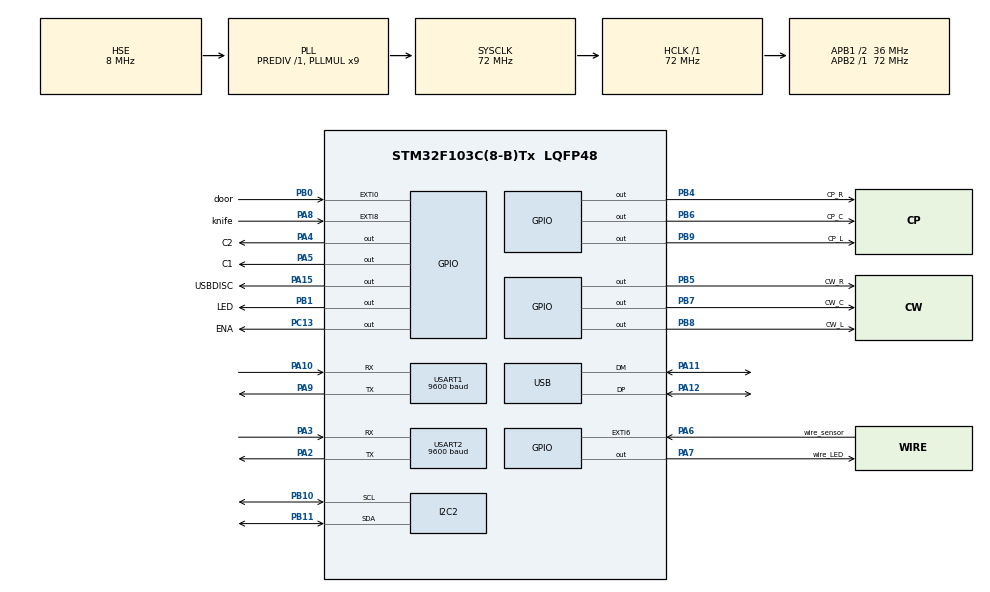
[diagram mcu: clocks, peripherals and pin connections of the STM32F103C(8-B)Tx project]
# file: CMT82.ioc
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Mcu.Family=STM32F1
Mcu.Name=STM32F103C(8-B)Tx
Mcu.Package=LQFP48
NVIC.EXTI0_IRQn=true\:0\:0\:false\:false\:true\:true
NVIC.EXTI9_5_IRQn=true\:0\:0\:false\:false\:true\:true
NVIC.I2C2_ER_IRQn=true\:0\:0\:false\:false\:true\:true
NVIC.I2C2_EV_IRQn=true\:0\:0\:false\:false\:true\:true
NVIC.PriorityGroup=NVIC_PRIORITYGROUP_4
NVIC.RTC_IRQn=true\:0\:0\:false\:false\:true\:true
NVIC.TIM1_UP_IRQn=true\:0\:0\:false\:false\:true\:true
NVIC.TIM3_IRQn=true\:0\:0\:false\:false\:true\:true
NVIC.TIM4_IRQn=true\:0\:0\:false\:false\:true\:true
NVIC.USART1_IRQn=true\:0\:0\:false\:false\:true\:true
NVIC.USART2_IRQn=true\:0\:0\:false\:false\:true\:true
PA10.Mode=Asynchronous
PA10.Signal=USART1_RX
PA11.Mode=Device
PA11.Signal=USB_DM
PA12.Mode=Device
PA12.Signal=USB_DP
PA13.Mode=Serial_Wire
PA13.Signal=SYS_JTMS-SWDIO
PA14.Mode=Serial_Wire
PA14.Signal=SYS_JTCK-SWCLK
PA15.GPIO_Label=USBDISC
PA15.Signal=GPIO_Output
PA2.Mode=Asynchronous
PA2.Signal=USART2_TX
PA3.Mode=Asynchronous
PA3.Signal=USART2_RX
PA4.GPIO_Label=C2
PA4.Signal=GPIO_Output
PA5.GPIO_Label=C1
PA5.Signal=GPIO_Output
PA6.GPIO_Label=wire_sensor
PA6.GPIO_ModeDefaultEXTI=GPIO_MODE_IT_RISING_FALLING
PA6.GPIO_PuPd=GPIO_PULLUP
PA6.Signal=GPXTI6
PA7.GPIO_Label=wire_LED
PA7.Signal=GPIO_Output
PA8.GPIO_Label=knife
PA8.GPIO_ModeDefaultEXTI=GPIO_MODE_IT_RISING_FALLING
PA8.GPIO_PuPd=GPIO_PULLUP
PA8.Signal=GPXTI8
PA9.Mode=Asynchronous
PA9.Signal=USART1_TX
PB0.GPIO_Label=door
PB0.GPIO_ModeDefaultEXTI=GPIO_MODE_IT_RISING_FALLING
PB0.GPIO_PuPd=GPIO_PULLUP
PB0.Signal=GPXTI0
PB1.GPIO_Label=LED
PB1.Signal=GPIO_Output
PB10.Mode=I2C
PB10.Signal=I2C2_SCL
PB11.Mode=I2C
PB11.Signal=I2C2_SDA
PB4.GPIO_Label=CP_R
PB4.Signal=GPIO_Output
PB5.GPIO_Label=CW_R
PB5.Signal=GPIO_Output
PB6.GPIO_Label=CP_C
PB6.Signal=GPIO_Output
PB7.GPIO_Label=CW_C
PB7.Signal=GPIO_Output
PB8.GPIO_Label=CW_L
PB8.Signal=GPIO_Output
PB9.GPIO_Label=CP_L
PB9.Signal=GPIO_Output
PC13-TAMPER-RTC.GPIO_Label=ENA
PC13-TAMPER-RTC.Signal=GPIO_Output
PD0-OSC_IN.Mode=HSE-External-Oscillator
PD0-OSC_IN.Signal=RCC_OSC_IN
PD1-OSC_OUT.Mode=HSE-External-Oscillator
PD1-OSC_OUT.Signal=RCC_OSC_OUT
ProjectManager.HeapSize=0x200
ProjectManager.StackSize=0x400
ProjectManager.TargetToolchain=SW4STM32
RCC.AHBFreq_Value=72000000
RCC.APB1CLKDivider=RCC_HCLK_DIV2
RCC.APB1Freq_Value=36000000
RCC.APB1TimFreq_Value=72000000
RCC.APB2Freq_Value=72000000
RCC.APB2TimFreq_Value=72000000
RCC.HCLKFreq_Value=72000000
RCC.PLLMUL=RCC_PLL_MUL9
RCC.SYSCLKFreq_VALUE=72000000
RCC.SYSCLKSource=RCC_SYSCLKSOURCE_PLLCLK
RCC.USBFreq_Value=48000000
RCC.USBPrescaler=RCC_USBCLKSOURCE_PLL_DIV1_5
RTC.Date=15
RTC.Month=RTC_MONTH_NOVEMBER
RTC.WeekDay=RTC_WEEKDAY_TUESDAY
RTC.Year=16
TIM1.Period=3599
TIM1.Prescaler=9999
TIM3.Period=17
TIM3.Prescaler=999
TIM4.Period=17
TIM4.Prescaler=999
USART1.BaudRate=9600
USART1.VirtualMode=VM_ASYNC
USART2.BaudRate=9600
USART2.VirtualMode=VM_ASYNC
VP_RTC_VS_RTC_Activate.Mode=RTC_Enabled
VP_RTC_VS_RTC_Calendar.Mode=RTC_Calendar
VP_TIM1_VS_OPM.Mode=OPM_bit
VP_TIM3_VS_OPM.Mode=OPM_bit
VP_TIM4_VS_OPM.Mode=OPM_bit
board=CMT82

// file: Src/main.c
/**
  ******************************************************************************
  * @file           : main.c
  * @brief          : Main program body
  ******************************************************************************
  ** This notice applies to any and all portions of this file
  * that are not between comment pairs USER CODE BEGIN and
  * USER CODE END. Other portions of this file, whether
  * inserted by the user or by software development tools
  * are owned by their respective copyright owners.
  *
  * COPYRIGHT(c) 2018 STMicroelectronics
  *
  * Redistribution and use in source and binary forms, with or without modification,
  * are permitted provided that the following conditions are met:
  *   1. Redistributions of source code must retain the above copyright notice,
  *      this list of conditions and the following disclaimer.
  *   2. Redistributions in binary form must reproduce the above copyright notice,
  *      this list of conditions and the following disclaimer in the documentation
  *      and/or other materials provided with the distribution.
  *   3. Neither the name of STMicroelectronics nor the names of its contributors
  *      may be used to endorse or promote products derived from this software
  *      without specific prior written permission.
  *
  * THIS SOFTWARE IS PROVIDED BY THE COPYRIGHT HOLDERS AND CONTRIBUTORS "AS IS"
  * AND ANY EXPRESS OR IMPLIED WARRANTIES, INCLUDING, BUT NOT LIMITED TO, THE
  * IMPLIED WARRANTIES OF MERCHANTABILITY AND FITNESS FOR A PARTICULAR PURPOSE ARE
  * DISCLAIMED. IN NO EVENT SHALL THE COPYRIGHT HOLDER OR CONTRIBUTORS BE LIABLE
  * FOR ANY DIRECT, INDIRECT, INCIDENTAL, SPECIAL, EXEMPLARY, OR CONSEQUENTIAL
  * DAMAGES (INCLUDING, BUT NOT LIMITED TO, PROCUREMENT OF SUBSTITUTE GOODS OR
  * SERVICES; LOSS OF USE, DATA, OR PROFITS; OR BUSINESS INTERRUPTION) HOWEVER
  * CAUSED AND ON ANY THEORY OF LIABILITY, WHETHER IN CONTRACT, STRICT LIABILITY,
  * OR TORT (INCLUDING NEGLIGENCE OR OTHERWISE) ARISING IN ANY WAY OUT OF THE USE
  * OF THIS SOFTWARE, EVEN IF ADVISED OF THE POSSIBILITY OF SUCH DAMAGE.
  *
  ******************************************************************************
  */
#include "main.h"
#include "stm32f1xx_hal.h"
#include <stdio.h>

/* USER CODE BEGIN Includes */
#include "init.h"
#include "lista.h"
#include "process.h"
#include "screen1.h"
#include "screen3.h"
#include "screen4.h"
#include "screen5.h"
#include "screen6.h"
#include "screen6_1.h"
#include "screen7.h"
#include "screen8.h"
#include "screen9.h"
#include "screen10.h"
#include "screen11.h"
#include "screen12.h"
#include "screen13.h"
#include "screen15.h"
#include "screen16.h"

/* USER CODE END Includes */

I2C_HandleTypeDef hi2c2;

RTC_HandleTypeDef hrtc;

TIM_HandleTypeDef htim1;
TIM_HandleTypeDef htim3;
TIM_HandleTypeDef htim4;

UART_HandleTypeDef huart1;
UART_HandleTypeDef huart2;

PCD_HandleTypeDef hpcd_USB_FS;

/* USER CODE BEGIN PV */
/* Private variables ---------------------------------------------------------*/
uint8_t data[50]; // Tablica przechowujaca wysylana wiadomosc.
uint16_t size = 0; // Rozmiar wysylanej wiadomosci ++cnt; // Zwiekszenie licznika wyslanych wiadomosci.
uint8_t screen = 0; //numer wyświetlanego ekranu (zgodnie z nazwą pliku na karcie pamięci)
uint8_t action = 0; //flaga, czy została podjęta akcja do wykonania

//zmienne dla odbioru danych po uart1
uint8_t Rx_UART1;	//zmienna do przechowywania znaku odebranego przez UART1

//zmienne dla odbioru danych po uart2
char Rx_indx, Rx_data[2], Rx_Buffer[4], Rx_Buffer_X[4], Rx_Buffer_Y[4],
		Transfer_cplt;
uint8_t Rx_Space = 0;
uint16_t position_x, position_y;
uint8_t Rx_active_count = 0; //bufor liczby cykli timer'a; po przekroczeniu wartości w przerwaniu timera zostanie z powrotem uruchomiony nasłuch

__IO ITStatus UartReady = RESET; //status UART'a

//struktury dla godziny i daty
RTC_DateTypeDef sdatestructureget;
RTC_TimeTypeDef stimestructureget;

//zmienne timera dla klawiatury - litery
uint8_t keyboard_timer = 0;
char last_char = '~';

uint8_t key_delay = 0; //flaga dla opóźnienia po wciśnięciu przycisku na ekranie ustawień noży (11)

//struktura i zmienne dla listy z programami
wezel *L = NULL;
uint16_t p = 0;
uint16_t p_max = 0;

uint8_t start = 0; //start procesu
uint8_t stop_process = 0;	//flaga zatrzymująca proces po naciśnięciu stopu
uint8_t base = 0; //bazowanie noży - 1 - zbazowane; 0 - nie
uint8_t cut = 0; //cięcie - 1 - tnie; 0 - nie
extern uint16_t impuls2open;
uint16_t cutting_deph = 0;
uint8_t set_cutting = 0;
extern uint16_t cutting_impulses;

extern uint16_t _pcs;
extern uint16_t _pcs_done;
extern uint8_t step;
extern uint8_t start_begin;
extern uint8_t batch_delay_flag;
uint8_t batch_delay_timer=0;
extern uint8_t feed_speed;
extern uint8_t blade_speed;
extern uint16_t batch_pieces;
extern uint8_t batch_delay;
extern float scaling;
extern uint8_t node_to_delete;
uint8_t *ptr_scaling;
volatile uint8_t interrupt = 0;
uint8_t counter_while = 0;
uint8_t counter_while_new = 0;
extern char *temp_scaling[5];

/* USER CODE END PV */

void SystemClock_Config(void);
static void MX_GPIO_Init(void);
static void MX_RTC_Init(void);
static void MX_USART2_UART_Init(void);
static void MX_USB_PCD_Init(void);
static void MX_USART1_UART_Init(void);
static void MX_TIM1_Init(void);
static void MX_TIM3_Init(void);
static void MX_TIM4_Init(void);
static void MX_I2C2_Init(void);

/* USER CODE BEGIN PFP */
/* Private function prototypes -----------------------------------------------*/
void HAL_GPIO_EXTI_Callback(uint16_t GPIO_Pin) {
	if (GPIO_Pin == door_Pin) {
		if(HAL_GPIO_ReadPin(door_GPIO_Port, door_Pin) < 1 && start == 1){
			start = 0;
			screen9_init();
		}
		size = sprintf((char*) data, "Drzwi otwarte !!! %d !!!\n\r",
				impuls2open);
		HAL_UART_Transmit(&huart1, data, size, 100);
	}

	if (GPIO_Pin == wire_sensor_Pin) {
		if(HAL_GPIO_ReadPin(wire_sensor_GPIO_Port, wire_sensor_Pin) < 1 && start == 1){
			start = 0;
			screen7_init();
		}
		size = sprintf((char*) data, "Brak przewodu\n\r");
		HAL_UART_Transmit(&huart1, data, size, 100);
	}

	if (GPIO_Pin == knife_Pin) {
		size = sprintf((char*) data, "Noz interrupt\n\r");
		HAL_UART_Transmit(&huart1, data, size, 100);
	}
}

void HAL_UART_TxCpltCallback(UART_HandleTypeDef *huart) {
	//HAL_GPIO_WritePin(LED_GPIO_Port, LED_Pin, GPIO_PIN_SET);
	UartReady = SET;

}

void HAL_UART_RxCpltCallback(UART_HandleTypeDef *huart) {
	uint8_t i;

	if(huart->Instance == USART1){
		switch (atoi(&Rx_UART1)) {

				case 0: // Jezeli odebrany zostanie znak 0
					//size = sprintf(Data, "STOP\n\r");
					HAL_GPIO_WritePin(LED_GPIO_Port, LED_Pin, GPIO_PIN_RESET);
					HAL_GPIO_WritePin(wire_LED_GPIO_Port, wire_LED_Pin, GPIO_PIN_RESET);
					break;

				case 1: // Jezeli odebrany zostanie znak 1
					HAL_GPIO_WritePin(LED_GPIO_Port, LED_Pin, GPIO_PIN_SET);
					HAL_GPIO_WritePin(wire_LED_GPIO_Port, wire_LED_Pin, GPIO_PIN_SET);
					break;

				case 2: //uruchomienie procesu cięcia na długość i odizolowywania
					//Jeśli ilość sztuk wykonanych jest większa lub równa od ilości zadanej to wyskakuje okno z ostrzeżeniem
					if(_pcs_done >= _pcs){
						start = 0;
						screen8_init();
					} else {
						if(screen == 2){
							step = 0;
							batch_delay_timer=0;
							start_begin = 1;
							start = 1;
						}
					}

					break;

				case 3: //zatrzymanie procesu cięcia
					if(start == 1){
						stop_process = 1;
					}
					break;

				case 4: //bazowanie
					base = 0;
					break;

				case 5: //test cewki
					HAL_GPIO_TogglePin(C2_GPIO_Port, C2_Pin);
					break;

				case 6:
					HAL_GPIO_TogglePin(C1_GPIO_Port, C1_Pin);
					break;

				case 7:
					htim3.Init.Period = 19;
					htim3.Init.Prescaler = 719;
					if (HAL_TIM_OnePulse_Init(&htim3, TIM_OPMODE_REPETITIVE) != HAL_OK) {
						Error_Handler();
					}
					break;

				case 8:
//					htim3.Init.Period = 17;
//					htim3.Init.Prescaler = 999;
//					if (HAL_TIM_OnePulse_Init(&htim3, TIM_OPMODE_REPETITIVE) != HAL_OK) {
//						Error_Handler();
//					}
					interrupt =5;
					break;

				case 9:

//					htim3.Init.Period = 12;
//					htim3.Init.Prescaler = 719;
//					if (HAL_TIM_OnePulse_Init(&htim3, TIM_OPMODE_REPETITIVE) != HAL_OK) {
//						Error_Handler();
//					}

					break;

				default: // Jezeli odebrano nieobslugiwany znak
					//size = sprintf(Data, "Odebrano nieznany znak: %c\n\r", Received);
					break;
				}
	}

	if (huart->Instance == USART2) {
		if (Rx_indx == 0) {
			for (i = 0; i < 4; i++)
				Rx_Buffer[i] = 0;
		}

		if (Rx_data[0] != 10) {
			if (Rx_data[0] != 84 && Rx_data[0] != 88 && Rx_data[0] != 89) {
				if (Rx_data[0] != 32) {
					if (Rx_Space == 1) {
						Rx_Buffer[Rx_indx++] = Rx_data[0];
						strcpy(Rx_Buffer_X, Rx_Buffer);
					}

					if (Rx_Space == 2) {
						Rx_Buffer[Rx_indx++] = Rx_data[0];
						strcpy(Rx_Buffer_Y, Rx_Buffer);
					}
				} else {
					Rx_Space++;
					Rx_indx = 0;
				}
			}
		} else {
			Rx_Space = 0;
			Rx_indx = 0;
			Transfer_cplt = 1;
		}

	}

	//UartReady = SET;
	if (Transfer_cplt == 1) {
		position_x = atoi((char*) &Rx_Buffer_X);
		position_y = atoi((char*) &Rx_Buffer_Y);
		//size = sprintf(data, "X:%d,Y:%dN\n\r", position_x, position_y);
		//HAL_UART_Transmit_IT(&huart1, data, size);

		switch (screen) {
		case 2:
			screen1_action(screen1_button());
			break;

		case 3:
			screen3_action(screen3_button());
			break;

		case 4:
			screen4_action(screen4_button());
			break;

		case 5:
			screen5_action(screen5_button());
			break;

		case 6:
			screen6_action(screen6_button());
			break;

		case 61:
			screen6_1_action(screen6_1_button());
			break;

		case 7:
			screen7_action(screen7_button());
			break;

		case 8:
			screen8_action(screen8_button());
			break;

		case 9:
			screen9_action(screen9_button());
			break;

		case 10:
			screen10_action(screen10_button());
			break;

		case 11:
			screen11_action(screen11_button());
			break;

		case 12:
			screen12_action(screen12_button());
			break;

		case 13:
			screen13_action(screen13_button());
			break;

		case 15:
			screen15_action(screen15_button());
			break;

		case 16:
			screen16_action(screen16_button());
			break;

		default:
			break;
		}
		Transfer_cplt = 0;
	}

	if (action == 1) {

		switch (screen) {
		case 2:
			HAL_RTC_GetTime(&hrtc, &stimestructureget, RTC_FORMAT_BIN);
			screen1_init(stimestructureget.Hours, stimestructureget.Minutes);
			//action = 0;
			break;

		case 3:
			screen3_init();
			//action = 0;
			break;

		case 4:
			screen4_init();
			//action = 0;
			break;

		case 5:
			screen5_init();
			//action = 0;
			break;

		case 6:
			HAL_RTC_GetTime(&hrtc, &stimestructureget, RTC_FORMAT_BIN);
			screen6_init(stimestructureget.Hours, stimestructureget.Minutes);
			break;

		case 61:
			HAL_RTC_GetTime(&hrtc, &stimestructureget, RTC_FORMAT_BIN);
			screen6_1_init(stimestructureget.Hours, stimestructureget.Minutes);
			break;

		case 7:
			screen7_init();
			//action = 0;
			break;

		case 8:
			screen8_init();
			//action = 0;
			break;

		case 9:
			screen9_init();
			//action = 0;
			break;

		case 10:
			screen10_init();
			//action = 0;
			break;

		case 11:
			screen11_init();
			//action = 0;
			break;

		case 12:
			screen12_init();
			//action = 0;
			break;

		case 13:
			screen13_init();
			//action = 0;
			break;

		case 15:
			screen15_init();
			//action = 0;
			break;

		case 16:
			screen16_init();
			//action = 0;
			break;

		default:
			//action = 0;
			break;
		}

		action = 0;
	}

	HAL_UART_Receive_IT(&huart1, &Rx_UART1, 1); // Ponowne włączenie nasłuchiwania na UART1 w przerwaniu
	HAL_UART_Receive_IT(&huart2, &Rx_data, 1); // Ponowne włączenie nasłuchiwania na UART2 w przerwaniu
}

void HAL_TIM_PeriodElapsedCallback(TIM_HandleTypeDef *htim) {

	if (htim->Instance == TIM1) { // Jeżeli przerwanie pochodzi od timera 1
		//pobiera godzinę
		HAL_RTC_GetTime(&hrtc, &stimestructureget, RTC_FORMAT_BIN);

		//opoznienie batch_delay_timer
		if (start>0 && batch_delay_timer==2*batch_delay && batch_delay_flag > 0){
			batch_delay_timer=0;
			batch_delay_flag=0;
			size = sprintf(data, "IF Bat del: %d batch tim %d bat flag: %d\n\r", batch_delay, batch_delay_timer, batch_delay_flag);
			HAL_UART_Transmit(&huart1, data, size, 100);
		}else if (start>0 && batch_delay_flag > 0){
			batch_delay_timer++;
			size = sprintf(data, "ELSE Bat del: %d batch tim %d bat flag: %d\n\r", batch_delay, batch_delay_timer, batch_delay_flag);
			HAL_UART_Transmit(&huart1, data, size, 100);
		}
		//jeśli minuta się zmieniła to zmienia godzinę wyświetlaną
		if (stimestructureget.Seconds == 0) {
			if (screen == 2) {
				size = sprintf(data, "CLR 400 1 479 45 19481\n\rUF 5 405 10 65535 %0.2d:%0.2d\n\r",
						stimestructureget.Hours, stimestructureget.Minutes);
				HAL_UART_Transmit(&huart2, data, size, 100);
			}

//			if (screen == 6) {
//				if(_pcs_done < _pcs){
//					size = sprintf(data, "CLR 400 1 479 45 405441\n\rUF 5 405 10 65535 %0.2d:%0.2d\n\r",
//							stimestructureget.Hours, stimestructureget.Minutes);
//					HAL_UART_Transmit_IT(&huart2, data, size);
//				}
//			}

			if (screen == 10) {

				size = sprintf(data, "CLR 45 84 90 124 65535\n\r");
				HAL_UART_Transmit(&huart2, data, size, 100);

				size = sprintf(data, "UF 5 55 94 0 %0.2d\n\r",
						stimestructureget.Hours);
				HAL_UART_Transmit(&huart2, data, size, 100);

				size = sprintf(data, "CLR 100 84 150 124 65535\n\r");
				HAL_UART_Transmit(&huart2, data, size, 100);

				size = sprintf(data, "UF 5 112 94 0 %0.2d\n\r",
						stimestructureget.Minutes);
				HAL_UART_Transmit(&huart2, data, size, 100);

			}

			/* Display time Format : hh:mm:ss */
			size = sprintf((char*) data, "%0.2d:%0.2d:%0.2d\n\r",
					stimestructureget.Hours, stimestructureget.Minutes,
					stimestructureget.Seconds);
			HAL_UART_Transmit(&huart1, data, size, 100);

			/* Get the RTC current Date */
			//HAL_RTC_GetDate(&hrtc, &sdatestructureget, FORMAT_BIN);
			/* Display date Format : mm-dd-yy */
			//size = sprintf((char*) data, "%0.2d-%0.2d-%0.2d\n\r",
			//		sdatestructureget.Month, sdatestructureget.Date,
			//		2000 + sdatestructureget.Year);
			//HAL_UART_Transmit_IT(&huart1, data, size);
		}

		//HAL_GPIO_TogglePin(LED1_GPIO_Port, LED1_Pin);

		if (keyboard_timer > 0) {
			keyboard_timer++;

			if (keyboard_timer == 3) {
				last_char = '~';
			}

		}

		if(key_delay > 0) {
			key_delay = 0;
		}
	}

	if (htim->Instance == TIM4) { // Jeżeli przerwanie pochodzi od timera 4
		if (base == 0) {
			bazowanie();
		}

		if ((cut > 0) && (start > 0)) {
			process_cut();
		}

		if ((set_cutting > 0) && (cutting_deph < 25)) {
			HAL_GPIO_TogglePin(CP_C_GPIO_Port, CP_C_Pin);
			++cutting_deph;
		} else {
			if(set_cutting == 1) cutting_impulses += 25;
			if(set_cutting == 2) cutting_impulses -= 25;
			if(set_cutting > 0){
				size = sprintf(data, "Ilosc impulsow noza: %d\n\r\n\r", cutting_impulses);
				HAL_UART_Transmit(&huart1, data, size, 100);
			}
			set_cutting = 0;
			cutting_deph = 0;
		}

	}

	if (htim->Instance == TIM3) { // Jeżeli przerwanie pochodzi od timera 3
		if (start > 0) {
			process_run();
		}
	}
}

/* USER CODE END PFP */

int main(void)
{
  /* USER CODE BEGIN 1 */
	uint8_t new_p_max;
	uint8_t *temp_array[2];

  /* USER CODE END 1 */

  /* MCU Configuration----------------------------------------------------------*/

  /* Reset of all peripherals, Initializes the Flash interface and the Systick. */
  HAL_Init();

  /* Configure the system clock */
  SystemClock_Config();

  /* Initialize all configured peripherals */
  MX_GPIO_Init();
  MX_RTC_Init();
  MX_USART2_UART_Init();
  MX_USB_PCD_Init();
  MX_USART1_UART_Init();
  MX_TIM1_Init();
  MX_TIM3_Init();
  MX_TIM4_Init();
  MX_I2C2_Init();
  /* USER CODE BEGIN 2 */
	HAL_UART_Receive_IT(&huart1, &Rx_UART1, 1); //start nasłuchu dla UART1 co 1 znak w przerwaniu
	HAL_UART_Receive_IT(&huart2, &Rx_data, 1); //start odbioru dla UART2 co 1 znak w przerwaniu
	HAL_TIM_Base_Init(&htim1);
	HAL_TIM_Base_Start_IT(&htim1); //start timera generującego przerwanie co sekundę
	HAL_TIM_Base_Init(&htim3);
	HAL_TIM_Base_Start_IT(&htim3); //start timera dla silników
	HAL_TIM_Base_Start_IT(&htim1); //start timera generującego przerwanie co sekundę
	HAL_TIM_Base_Init(&htim4);
	HAL_TIM_Base_Start_IT(&htim4); //start timera dla silnika noża
	HAL_RTC_GetTime(&hrtc, &stimestructureget, RTC_FORMAT_BIN); // pobranie godziny

	size = sprintf(data, "Petla PRZED while ciagle %d \n\r", 120);
					HAL_UART_Transmit(&huart1, data, size, 100);

	//tworzenie listy jednokierunkowej i odczyt EEPROM
	wstawPocz(&L, "Program 1", 999, 0, 50, 0, 0, 0, 0, 800, 250);
	interrupt =2;

	//ToDO zmienic na eeprom
	scaling=1;
	feed_speed=1;
	blade_speed=1;
	batch_pieces=45;
	batch_delay=5;

	//wstawPocz(&L, 33);
//	wstaw(&L, 1, "bbb", 1000, 0, 200, 7, 6, 7, 8, 810, 250);
//	wstaw(&L, 2, "ccc", 2000, 0, 300, 8, 7, 8, 9, 820, 250);
//	wstaw(&L, 3, "ddd", 3, 0, 50, 9, 8, 0, 0, 825, 50);
//	wstaw(&L, 4, "eee", 4000, 0, 500, 4, 3, 4, 5, 840, 250);
//	wstaw(&L, 5, "fff", 3, 0, 50, 9, 8, 0, 0, 825, 50);
//	wstaw(&L, 6, "ggg", 4000, 0, 500, 4, 3, 4, 5, 840, 250);
//	wstaw(&L, 7, "hhh", 4000, 0, 500, 4, 3, 4, 5, 840, 250);
//ekran startowy - logo+pasek ładowania
	wlaczanie(&huart1, &huart2);

//pierwszy ekran - główny programu
	screen1_init(stimestructureget.Hours, stimestructureget.Minutes);

  /* USER CODE END 2 */

  /* Infinite loop */
	while (1) {

  /* USER CODE BEGIN 3 */

//		size = sprintf(data, "Petla while ciagle %d \n\r", 120);
//				HAL_UART_Transmit(&huart1, data, size, 100);

		if(interrupt == 1){		//zapis
			interrupt = 0;
//			zapisz_EEPROM(L, p);
//			new_p_max = ilosc_wezlow(L);
//			if(HAL_I2C_Mem_Write_IT(&hi2c2, 0xa0, 99, 1, &new_p_max, 1)!= HAL_OK){
//				Error_Handler();
//			}
//			while (HAL_I2C_GetState(&hi2c2) != HAL_I2C_STATE_READY){}
		}

		if(interrupt == 2){		//odczyt programow i ustawien
			interrupt = 0;
//			size = sprintf(data, "Petla while PREDFOR %d \n\r", 120);
//						HAL_UART_Transmit(&huart1, data, size, 100);
//			if(HAL_I2C_Mem_Read_IT(&hi2c2, 0xa0, 99, 1, &p, 1)!= HAL_OK){
//				size = sprintf(data, "Petla while IF %d \n\r", 120);
//										HAL_UART_Transmit(&huart1, data, size, 100);
//				Error_Handler();
//			}
//			while (HAL_I2C_GetState(&hi2c2) != HAL_I2C_STATE_READY){
//				size = sprintf(data, "Petla while WHIKE %d \n\r", 120);
//										HAL_UART_Transmit(&huart1, data, size, 100);
//			}
//			size = sprintf(data, "Petla while PREDFOR1 %d \n\r", 120);
//									HAL_UART_Transmit(&huart1, data, size, 100);
//			for(uint8_t j=0; j<p; j++){
//				odczyt_EEPROM(L, j);
//				size = sprintf(data, "Petla while FOR %d \n\r", 120);
//							HAL_UART_Transmit(&huart1, data, size, 100);
//			}
//			odczyt_ustawien_EEPROM();
//			size = sprintf(data, "Petla while %d \n\r", 120);
//			HAL_UART_Transmit(&huart1, data, size, 100);
//			p=0;
//			screen1_init(stimestructureget.Hours, stimestructureget.Minutes);
		}

		if(interrupt == 3){		//usuwanie
			interrupt = 0;
//			usun_z_EEPROM(L, node_to_delete);
		}
		if(interrupt==4){	//zapisywanie ustawien
			interrupt=0;

			HAL_I2C_Mem_Write(&hi2c2, 0xa0, 1, 1, &feed_speed, 1, HAL_MAX_DELAY);
			HAL_Delay(5);

			HAL_I2C_Mem_Write(&hi2c2, 0xa0, 2, 1, &blade_speed, 1, HAL_MAX_DELAY);
			HAL_Delay(5);

			temp_array[0] = (uint8_t)((batch_pieces & 0xff00) >> 8);
			HAL_I2C_Mem_Write(&hi2c2, 0xa0, 3, 1, temp_array, 1, HAL_MAX_DELAY);
			HAL_Delay(5);

			temp_array[1] = (uint8_t)batch_pieces & 0xff;
			HAL_I2C_Mem_Write(&hi2c2, 0xa0, 4, 1, temp_array+1, 1, HAL_MAX_DELAY);
			HAL_Delay(5);

			HAL_I2C_Mem_Write(&hi2c2, 0xa0, 5, 1, &batch_delay, 1, HAL_MAX_DELAY);
			HAL_Delay(5);

			sprintf(temp_scaling, "%.1f", scaling);
			ptr_scaling = temp_scaling;

			for(uint8_t i=0; i<5; i++){
				if(HAL_I2C_Mem_Write_IT(&hi2c2, 0xa0, 6+i, 1, ptr_scaling+i, 1)!= HAL_OK){
					size = sprintf(data, "Petla while FOR IF %d \n\r", 120);
						HAL_UART_Transmit(&huart1, data, size, 100);
					Error_Handler();
				}
				while (HAL_I2C_GetState(&hi2c2) != HAL_I2C_STATE_READY){}
				HAL_Delay(5);
			}

		}
//		if(interrupt==5){
//			interrupt=0;
//			}
//
//		}
//		HAL_GPIO_TogglePin(LED_GPIO_Port, LED_Pin);
//		HAL_GPIO_TogglePin(wire_LED_GPIO_Port, wire_LED_Pin);
//		HAL_Delay(1);
		//size = sprintf((char*) data, "Noz: %d \n\r", HAL_GPIO_ReadPin(knife_GPIO_Port, knife_Pin));
		//HAL_UART_Transmit(&huart1, data, size, 100);
	}
  /* USER CODE END 3 */

}
void SystemClock_Config(void)
{

  RCC_OscInitTypeDef RCC_OscInitStruct;
  RCC_ClkInitTypeDef RCC_ClkInitStruct;
  RCC_PeriphCLKInitTypeDef PeriphClkInit;

    /**Initializes the CPU, AHB and APB busses clocks
    */
  RCC_OscInitStruct.OscillatorType = RCC_OSCILLATORTYPE_LSI|RCC_OSCILLATORTYPE_HSE;
  RCC_OscInitStruct.HSEState = RCC_HSE_ON;
  RCC_OscInitStruct.HSEPredivValue = RCC_HSE_PREDIV_DIV1;
  RCC_OscInitStruct.HSIState = RCC_HSI_ON;
  RCC_OscInitStruct.LSIState = RCC_LSI_ON;
  RCC_OscInitStruct.PLL.PLLState = RCC_PLL_ON;
  RCC_OscInitStruct.PLL.PLLSource = RCC_PLLSOURCE_HSE;
  RCC_OscInitStruct.PLL.PLLMUL = RCC_PLL_MUL9;
  if (HAL_RCC_OscConfig(&RCC_OscInitStruct) != HAL_OK)
  {
    _Error_Handler(__FILE__, __LINE__);
  }

    /**Initializes the CPU, AHB and APB busses clocks
    */
  RCC_ClkInitStruct.ClockType = RCC_CLOCKTYPE_HCLK|RCC_CLOCKTYPE_SYSCLK
                              |RCC_CLOCKTYPE_PCLK1|RCC_CLOCKTYPE_PCLK2;
  RCC_ClkInitStruct.SYSCLKSource = RCC_SYSCLKSOURCE_PLLCLK;
  RCC_ClkInitStruct.AHBCLKDivider = RCC_SYSCLK_DIV1;
  RCC_ClkInitStruct.APB1CLKDivider = RCC_HCLK_DIV2;
  RCC_ClkInitStruct.APB2CLKDivider = RCC_HCLK_DIV1;

  if (HAL_RCC_ClockConfig(&RCC_ClkInitStruct, FLASH_LATENCY_2) != HAL_OK)
  {
    _Error_Handler(__FILE__, __LINE__);
  }

  PeriphClkInit.PeriphClockSelection = RCC_PERIPHCLK_RTC|RCC_PERIPHCLK_USB;
  PeriphClkInit.RTCClockSelection = RCC_RTCCLKSOURCE_LSI;
  PeriphClkInit.UsbClockSelection = RCC_USBCLKSOURCE_PLL_DIV1_5;
  if (HAL_RCCEx_PeriphCLKConfig(&PeriphClkInit) != HAL_OK)
  {
    _Error_Handler(__FILE__, __LINE__);
  }

    /**Configure the Systick interrupt time
    */
  HAL_SYSTICK_Config(HAL_RCC_GetHCLKFreq()/1000);

    /**Configure the Systick
    */
  HAL_SYSTICK_CLKSourceConfig(SYSTICK_CLKSOURCE_HCLK);

  /* SysTick_IRQn interrupt configuration */
  HAL_NVIC_SetPriority(SysTick_IRQn, 0, 0);
}

/* I2C2 init function */
static void MX_I2C2_Init(void)
{

  hi2c2.Instance = I2C2;
  hi2c2.Init.ClockSpeed = 100000;
  hi2c2.Init.DutyCycle = I2C_DUTYCYCLE_2;
  hi2c2.Init.OwnAddress1 = 0;
  hi2c2.Init.AddressingMode = I2C_ADDRESSINGMODE_7BIT;
  hi2c2.Init.DualAddressMode = I2C_DUALADDRESS_DISABLE;
  hi2c2.Init.OwnAddress2 = 0;
  hi2c2.Init.GeneralCallMode = I2C_GENERALCALL_DISABLE;
  hi2c2.Init.NoStretchMode = I2C_NOSTRETCH_DISABLE;
  if (HAL_I2C_Init(&hi2c2) != HAL_OK)
  {
    _Error_Handler(__FILE__, __LINE__);
  }

}

/* RTC init function */
static void MX_RTC_Init(void)
{

  RTC_TimeTypeDef sTime;
  RTC_DateTypeDef DateToUpdate;

    /**Initialize RTC Only
    */
  hrtc.Instance = RTC;
  hrtc.Init.AsynchPrediv = RTC_AUTO_1_SECOND;
  hrtc.Init.OutPut = RTC_OUTPUTSOURCE_ALARM;
  if (HAL_RTC_Init(&hrtc) != HAL_OK)
  {
    _Error_Handler(__FILE__, __LINE__);
  }

    /**Initialize RTC and set the Time and Date
    */
  sTime.Hours = 0x0;
  sTime.Minutes = 0x0;
  sTime.Seconds = 0x0;

  if (HAL_RTC_SetTime(&hrtc, &sTime, RTC_FORMAT_BCD) != HAL_OK)
  {
    _Error_Handler(__FILE__, __LINE__);
  }

  DateToUpdate.WeekDay = RTC_WEEKDAY_TUESDAY;
  DateToUpdate.Month = RTC_MONTH_NOVEMBER;
  DateToUpdate.Date = 0x15;
  DateToUpdate.Year = 0x16;

  if (HAL_RTC_SetDate(&hrtc, &DateToUpdate, RTC_FORMAT_BCD) != HAL_OK)
  {
    _Error_Handler(__FILE__, __LINE__);
  }

}

/* TIM1 init function */
static void MX_TIM1_Init(void)
{

  htim1.Instance = TIM1;
  htim1.Init.Prescaler = 9999;
  htim1.Init.CounterMode = TIM_COUNTERMODE_UP;
  htim1.Init.Period = 3599;
  htim1.Init.ClockDivision = TIM_CLOCKDIVISION_DIV1;
  htim1.Init.RepetitionCounter = 0;
//  htim1.Init.AutoReloadPreload = TIM_AUTORELOAD_PRELOAD_DISABLE;
  if (HAL_TIM_OnePulse_Init(&htim1, TIM_OPMODE_REPETITIVE) != HAL_OK)
  {
    _Error_Handler(__FILE__, __LINE__);
  }

}

/* TIM3 init function */
static void MX_TIM3_Init(void)
{

  htim3.Instance = TIM3;
  htim3.Init.Prescaler = 999;
  htim3.Init.CounterMode = TIM_COUNTERMODE_UP;
  htim3.Init.Period = 17;
  htim3.Init.ClockDivision = TIM_CLOCKDIVISION_DIV1;
//  htim3.Init.AutoReloadPreload = TIM_AUTORELOAD_PRELOAD_DISABLE;
  if (HAL_TIM_OnePulse_Init(&htim3, TIM_OPMODE_REPETITIVE) != HAL_OK)
  {
    _Error_Handler(__FILE__, __LINE__);
  }

}

/* TIM4 init function */
static void MX_TIM4_Init(void)
{

  htim4.Instance = TIM4;
  htim4.Init.Prescaler = 999;
  htim4.Init.CounterMode = TIM_COUNTERMODE_UP;
  htim4.Init.Period = 143;
  htim4.Init.ClockDivision = TIM_CLOCKDIVISION_DIV1;
//  htim4.Init.AutoReloadPreload = TIM_AUTORELOAD_PRELOAD_DISABLE;
  if (HAL_TIM_OnePulse_Init(&htim4, TIM_OPMODE_REPETITIVE) != HAL_OK)
  {
    _Error_Handler(__FILE__, __LINE__);
  }

}

/* USART1 init function */
static void MX_USART1_UART_Init(void)
{

  huart1.Instance = USART1;
  huart1.Init.BaudRate = 9600;
  huart1.Init.WordLength = UART_WORDLENGTH_8B;
  huart1.Init.StopBits = UART_STOPBITS_1;
  huart1.Init.Parity = UART_PARITY_NONE;
  huart1.Init.Mode = UART_MODE_TX_RX;
  huart1.Init.HwFlowCtl = UART_HWCONTROL_NONE;
  huart1.Init.OverSampling = UART_OVERSAMPLING_16;
  if (HAL_UART_Init(&huart1) != HAL_OK)
  {
    _Error_Handler(__FILE__, __LINE__);
  }

}

/* USART2 init function */
static void MX_USART2_UART_Init(void)
{

  huart2.Instance = USART2;
  huart2.Init.BaudRate = 9600;
  huart2.Init.WordLength = UART_WORDLENGTH_8B;
  huart2.Init.StopBits = UART_STOPBITS_1;
  huart2.Init.Parity = UART_PARITY_NONE;
  huart2.Init.Mode = UART_MODE_TX_RX;
  huart2.Init.HwFlowCtl = UART_HWCONTROL_NONE;
  huart2.Init.OverSampling = UART_OVERSAMPLING_16;
  if (HAL_UART_Init(&huart2) != HAL_OK)
  {
    _Error_Handler(__FILE__, __LINE__);
  }

}

/* USB init function */
static void MX_USB_PCD_Init(void)
{

  hpcd_USB_FS.Instance = USB;
  hpcd_USB_FS.Init.dev_endpoints = 8;
  hpcd_USB_FS.Init.speed = PCD_SPEED_FULL;
  hpcd_USB_FS.Init.ep0_mps = DEP0CTL_MPS_8;
  hpcd_USB_FS.Init.low_power_enable = DISABLE;
  hpcd_USB_FS.Init.lpm_enable = DISABLE;
  hpcd_USB_FS.Init.battery_charging_enable = DISABLE;
  if (HAL_PCD_Init(&hpcd_USB_FS) != HAL_OK)
  {
    _Error_Handler(__FILE__, __LINE__);
  }

}

/** Configure pins as
        * Analog
        * Input
        * Output
        * EVENT_OUT
        * EXTI
*/
static void MX_GPIO_Init(void)
{

  GPIO_InitTypeDef GPIO_InitStruct;

  /* GPIO Ports Clock Enable */
  __HAL_RCC_GPIOC_CLK_ENABLE();
  __HAL_RCC_GPIOD_CLK_ENABLE();
  __HAL_RCC_GPIOA_CLK_ENABLE();
  __HAL_RCC_GPIOB_CLK_ENABLE();

  /*Configure GPIO pin Output Level */
  HAL_GPIO_WritePin(ENA_GPIO_Port, ENA_Pin, GPIO_PIN_RESET);

  /*Configure GPIO pin Output Level */
  HAL_GPIO_WritePin(GPIOA, C2_Pin|C1_Pin|wire_LED_Pin|USBDISC_Pin, GPIO_PIN_RESET);

  /*Configure GPIO pin Output Level */
  HAL_GPIO_WritePin(GPIOB, LED_Pin|CP_R_Pin|CW_R_Pin|CP_C_Pin
                          |CW_C_Pin|CW_L_Pin|CP_L_Pin, GPIO_PIN_RESET);

  /*Configure GPIO pin : ENA_Pin */
  GPIO_InitStruct.Pin = ENA_Pin;
  GPIO_InitStruct.Mode = GPIO_MODE_OUTPUT_PP;
  GPIO_InitStruct.Pull = GPIO_NOPULL;
  GPIO_InitStruct.Speed = GPIO_SPEED_FREQ_LOW;
  HAL_GPIO_Init(ENA_GPIO_Port, &GPIO_InitStruct);

  /*Configure GPIO pins : C2_Pin C1_Pin wire_LED_Pin USBDISC_Pin */
  GPIO_InitStruct.Pin = C2_Pin|C1_Pin|wire_LED_Pin|USBDISC_Pin;
  GPIO_InitStruct.Mode = GPIO_MODE_OUTPUT_PP;
  GPIO_InitStruct.Pull = GPIO_NOPULL;
  GPIO_InitStruct.Speed = GPIO_SPEED_FREQ_LOW;
  HAL_GPIO_Init(GPIOA, &GPIO_InitStruct);

  /*Configure GPIO pins : wire_sensor_Pin knife_Pin */
  GPIO_InitStruct.Pin = wire_sensor_Pin|knife_Pin;
  GPIO_InitStruct.Mode = GPIO_MODE_IT_RISING_FALLING;
  GPIO_InitStruct.Pull = GPIO_PULLUP;
  HAL_GPIO_Init(GPIOA, &GPIO_InitStruct);

  /*Configure GPIO pin : door_Pin */
  GPIO_InitStruct.Pin = door_Pin;
  GPIO_InitStruct.Mode = GPIO_MODE_IT_RISING_FALLING;
  GPIO_InitStruct.Pull = GPIO_PULLUP;
  HAL_GPIO_Init(door_GPIO_Port, &GPIO_InitStruct);

  /*Configure GPIO pins : LED_Pin CP_R_Pin CW_R_Pin CP_C_Pin
                           CW_C_Pin CW_L_Pin CP_L_Pin */
  GPIO_InitStruct.Pin = LED_Pin|CP_R_Pin|CW_R_Pin|CP_C_Pin
                          |CW_C_Pin|CW_L_Pin|CP_L_Pin;
  GPIO_InitStruct.Mode = GPIO_MODE_OUTPUT_PP;
  GPIO_InitStruct.Pull = GPIO_NOPULL;
  GPIO_InitStruct.Speed = GPIO_SPEED_FREQ_LOW;
  HAL_GPIO_Init(GPIOB, &GPIO_InitStruct);

  /* EXTI interrupt init*/
  HAL_NVIC_SetPriority(EXTI0_IRQn, 0, 0);
  HAL_NVIC_EnableIRQ(EXTI0_IRQn);

  HAL_NVIC_SetPriority(EXTI9_5_IRQn, 0, 0);
  HAL_NVIC_EnableIRQ(EXTI9_5_IRQn);

}

void _Error_Handler(char *file, int line)
{
  while(1)
  {
  }
}

/************************ (C) COPYRIGHT STMicroelectronics *****END OF FILE****/
